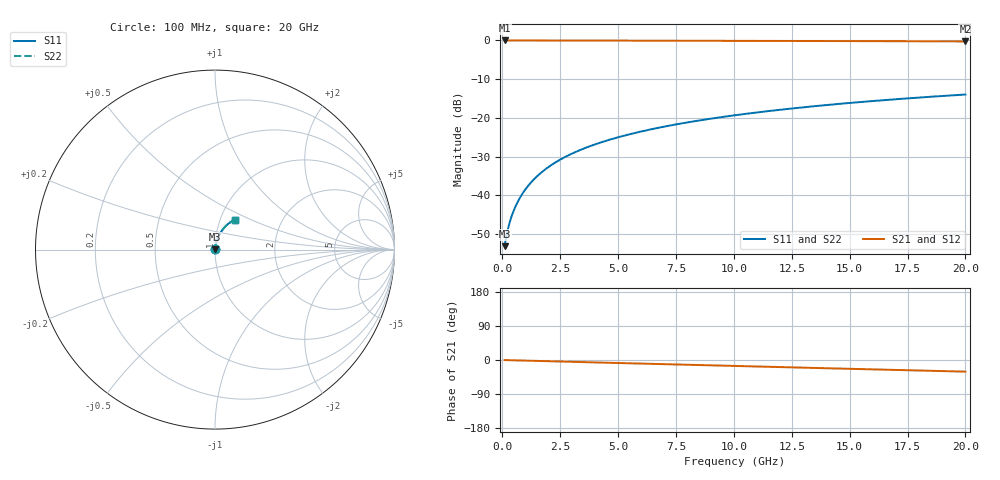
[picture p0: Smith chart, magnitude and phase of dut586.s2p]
! Touchstone file exported from HFSS 2026.1.0
!  File:  C:/ffzhzh/LocalFiles/Ansys_Project_Files/temp_train_TMRDL_586_1783008337_46388.aedt
!  Generated:  12:06:59 AM Jul  3, 2026
!  Design:  TMRDL
!  Project:  temp_train_TMRDL_586_1783008337_46388
! Variables:
!  h_bsmrdl = 2um
!  h_ox = 20um
!  h_rdl = 5um
!  h_sub = 80um
!  h_tmrdl = 4.52um
!  h_tsv = 80um
!  h_via = 3um
!  l_bsmrdl = 300um
!  l_sub = 886.02um
!  l_tmrdl = 486.02um
!  m_sub = 200um
!  pitch = 40.97um
!  r_tsv = 6um
!  s_tmrdl = 10um
!  w_bsmrdl = 18um
!  w_sub = 500um
!  w_tmrdl = 25.34um
!  x_tsv_center1 = 498.69um
!  x_tsv_center2 = 816.69um
!  x_tsv_center3 = 1328.05um
!  x_tsv_center4 = 1646.05um
!  x_tsv_center5 = 2157.41um
!  x_tsv_center6 = 2475.41um
# GHz S MA R 50.000000
! Terminal data exported
! Port[1] = TM_RDL1_1_T1
! Port[2] = TM_RDL1_1_T2
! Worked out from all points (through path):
!   200 points, 100 MHz to 20 GHz, reference 50 ohm
!   highest |S21| = -0.01 dB at 100 MHz (marker M1); lowest = -0.3 dB at 20 GHz (marker M2)
!   group delay of S21, straight-line fit = 4.26 ps
!   lowest |S11| = -53.1 dB at 100 MHz (marker M3), VSWR 1.00, Z = 50.2 + j0.138 ohm
!   |S11| at or under -10 dB: start of sweep to end of sweep
!   |S22| runs from -53.1 to -14.0 dB; largest |S21 - S12| = 4.4e-15
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0.1  0.002208 38.5  0.9983 -0.2  0.9983 -0.2  0.002208 38.5
! Gamma 0 0 0 0
! Port Impedance 50 0 50 0
0.2  0.003232 53.9  0.9981 -0.3  0.9981 -0.3  0.003232 53.9
0.3  0.004287 61.4  0.998 -0.5  0.998 -0.5  0.004287 61.4
0.4  0.005347 66.2  0.9979 -0.7  0.9979 -0.7  0.005347 66.2
0.5  0.006421 69.5  0.9978 -0.8  0.9978 -0.8  0.006421 69.5
0.6  0.00751 71.9  0.9978 -1.0  0.9978 -1.0  0.00751 71.9
0.8  0.009725 75.1  0.9977 -1.3  0.9977 -1.3  0.009725 75.1
1.1  0.0131 77.7  0.9975 -1.8  0.9975 -1.8  0.0131 77.7
1.3  0.01536 78.7  0.9974 -2.1  0.9974 -2.1  0.01536 78.7
1.6  0.01876 79.5  0.9972 -2.6  0.9972 -2.6  0.01876 79.5
2.1  0.0244 80.0  0.9969 -3.4  0.9969 -3.4  0.0244 80.0
2.7  0.03112 79.9  0.9964 -4.3  0.9964 -4.3  0.03112 79.9
3.5  0.03996 79.2  0.9956 -5.6  0.9956 -5.6  0.03996 79.2
4.2  0.04758 78.4  0.9948 -6.7  0.9948 -6.7  0.04758 78.4
5  0.05617 77.5  0.9939 -7.9  0.9939 -7.9  0.05617 77.5
5.9  0.0657 76.3  0.9928 -9.3  0.9928 -9.3  0.0657 76.3
6.8  0.0751 75.1  0.9917 -10.7  0.9917 -10.7  0.0751 75.1
8.3  0.09051 73.1  0.9898 -13.1  0.9898 -13.1  0.09051 73.1
10.1  0.1086 70.6  0.9873 -15.8  0.9873 -15.8  0.1086 70.6
13.4  0.1407 66.0  0.9822 -20.8  0.9822 -20.8  0.1407 66.0
16.7  0.1713 61.3  0.9765 -25.8  0.9765 -25.8  0.1713 61.3
20  0.2002 56.7  0.9704 -30.7  0.9704 -30.7  0.2002 56.7
